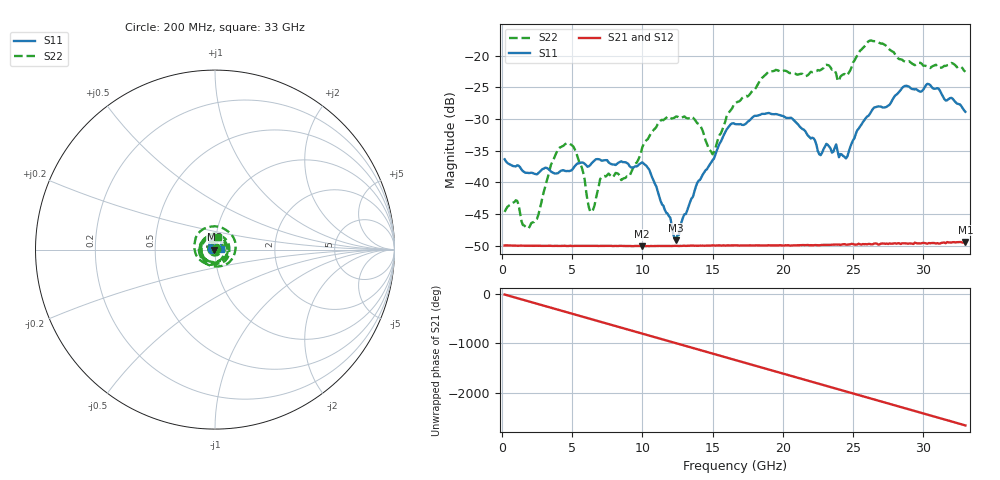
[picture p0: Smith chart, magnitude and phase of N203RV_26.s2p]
# GHZ S RI R 50
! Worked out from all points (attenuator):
!   329 points, 200 MHz to 33 GHz, reference 50 ohm
!   highest |S21| = -49.41 dB at 33 GHz (marker M1); lowest = -50.1 dB at 10 GHz (marker M2)
!   lowest |S11| = -49.1 dB at 12.4 GHz (marker M3), VSWR 1.01, Z = 49.7 + j0.00133 ohm
!   |S11| at or under -10 dB: start of sweep to end of sweep
!   |S22| runs from -47.3 to -17.6 dB; largest |S21 - S12| = 7.2e-05
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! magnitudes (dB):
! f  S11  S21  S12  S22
! 200 MHz  -36.4  -50.0  -50.0  -44.7
! 1.1 GHz  -37.3  -50.0  -50.0  -42.9
! 1.9 GHz  -38.5  -50.0  -50.0  -47.3
! 3.5 GHz  -38.3  -50.0  -50.0  -37.2
! 4.6 GHz  -38.2  -50.1  -50.0  -33.8
! 5.7 GHz  -36.9  -50.0  -50.0  -37.7
! 6.3 GHz  -37.3  -50.0  -50.0  -44.7
! 7.1 GHz  -36.6  -50.1  -50.0  -39.2
! 9.1 GHz  -37.5  -50.1  -50.1  -39.0
! 10 GHz  -36.9  -50.1  -50.1  -34.5
! 11.2 GHz  -42.2  -50.1  -50.0  -30.5
! 12.4 GHz  -49.1  -50.0  -50.0  -29.6
! 13.7 GHz  -41.5  -50.0  -50.0  -30.0
! 15 GHz  -36.5  -50.0  -50.0  -35.6
! 16.6 GHz  -30.8  -50.0  -50.0  -27.5
! 19 GHz  -29.0  -49.9  -49.9  -22.5
! 22.1 GHz  -33.0  -49.9  -49.9  -22.6
! 24.5 GHz  -36.2  -49.8  -49.8  -23.1
! 26.1 GHz  -29.5  -49.7  -49.7  -17.7
! 27.6 GHz  -27.8  -49.7  -49.7  -19.0
! 30.3 GHz  -24.4  -49.7  -49.7  -21.7
! 33 GHz  -28.9  -49.4  -49.4  -22.6
